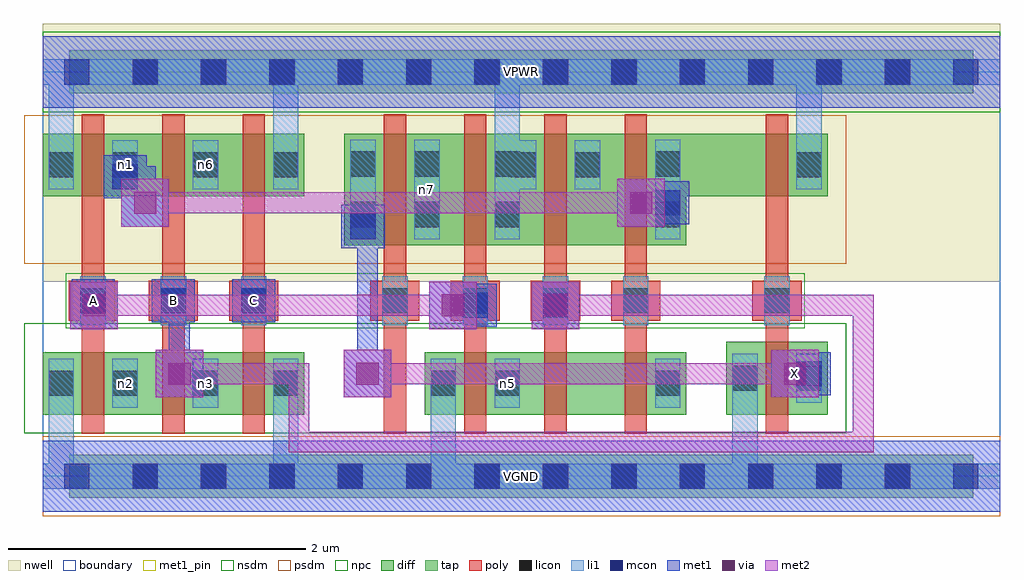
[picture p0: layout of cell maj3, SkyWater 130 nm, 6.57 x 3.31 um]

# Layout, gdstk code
import gdstk
lib = gdstk.Library(unit=1e-6, precision=1e-09)
def R(c, l, rs):  # rectangles x0, y0, x1, y1
    for r in rs: c.add(gdstk.rectangle(r[:2], r[2:], *l))
def A(c, l, x, y, w, h, nx, ny, dx, dy):  # array of equal rectangles
    R(c, l, [(x+i*dx, y+j*dy, x+i*dx+w, y+j*dy+h) for i in range(nx) for j in range(ny)])
nwell = (64, 20)
diff = (65, 20)
tap = (65, 44)
poly = (66, 20)
licon = (66, 44)
li1 = (67, 20)
mcon = (67, 44)
met1_pin = (68, 16)
met1 = (68, 20)
via = (68, 44)
met2 = (69, 20)
nsdm = (93, 44)
psdm = (94, 20)
npc = (95, 20)
boundary = (235, 4)

maj3 = lib.new_cell('maj3')
R(maj3, nwell, [(0,1.31,6.44,3.045)])
R(maj3, diff, [(0,0.415,1.76,0.835), (2.57,0.415,4.33,0.835), (4.6,0.415,5.28,0.905), (2.03,1.555,4.33,2.305), (0,1.885,1.76,2.305), (3.11,1.885,5.28,2.305)])
R(maj3, tap, [(0.18,-0.145,6.26,0.145), (0.18,2.575,6.26,2.865)])
A(maj3, poly, 0.265, 0.285, 0.15, 2.15, 3, 1, 0.54, 0)
A(maj3, poly, 2.295, 0.285, 0.15, 2.15, 4, 1, 0.54, 0)
A(maj3, poly, 0.175, 1.045, 0.33, 0.27, 3, 1, 0.54, 0)
A(maj3, poly, 2.205, 1.045, 0.33, 0.27, 4, 1, 0.54, 0)
R(maj3, poly, [(4.865,0.285,5.015,2.435), (4.775,1.045,5.105,1.315)])
A(maj3, licon, 0.605, -0.085, 0.17, 0.17, 12, 2, 0.46, 2.72)
A(maj3, licon, 0.47, 0.54, 0.17, 0.17, 3, 2, 0.54, 1.47)
A(maj3, licon, 0.255, 1.095, 0.17, 0.17, 3, 1, 0.54, 0)
A(maj3, licon, 2.285, 1.095, 0.17, 0.17, 4, 1, 0.54, 0)
R(maj3, licon, [(0.04,0.54,0.21,0.71), (2.61,0.54,2.78,0.71), (3.04,0.54,3.21,0.71), (4.12,0.54,4.29,0.71), (4.64,0.575,4.81,0.745), (5.07,0.575,5.24,0.745), (4.855,1.095,5.025,1.265), (2.07,1.675,2.24,1.845), (2.5,1.675,2.67,1.845), (3.04,1.675,3.21,1.845), (4.12,1.675,4.29,1.845), (0.04,2.01,0.21,2.18), (3.15,2.01,3.32,2.18), (3.58,2.01,3.75,2.18), (5.07,2.01,5.24,2.18), (2.07,2.015,2.24,2.185), (2.5,2.015,2.67,2.185), (3.04,2.015,3.21,2.185), (4.12,2.015,4.29,2.185)])
A(maj3, li1, 0.47, 0.46, 0.17, 0.33, 3, 2, 0.54, 1.47)
A(maj3, li1, 0.255, 1.015, 0.17, 0.33, 3, 1, 0.54, 0)
A(maj3, li1, 2.285, 1.015, 0.17, 0.33, 4, 1, 0.54, 0)
R(maj3, li1, [(0,-0.085,6.44,0.085), (0.04,-0.085,0.21,0.79), (1.55,-0.085,1.72,0.79), (2.61,-0.085,2.78,0.79), (4.64,-0.085,4.81,0.825), (0.04,0.46,0.21,0.79), (2.61,0.46,2.78,0.79), (3.04,0.46,3.21,0.79), (4.12,0.46,4.29,0.79), (4.64,0.495,4.81,0.825), (5.07,0.495,5.24,0.825), (4.855,1.015,5.025,1.345), (2.07,1.595,2.24,2.265), (2.5,1.595,2.67,2.265), (3.04,1.595,3.21,2.265), (3.04,1.595,3.21,2.805), (4.12,1.595,4.29,2.265), (0.04,1.93,0.21,2.26), (0.04,1.93,0.21,2.805), (1.55,1.93,1.72,2.805), (3.15,1.93,3.32,2.26), (3.58,1.93,3.75,2.26), (5.07,1.93,5.24,2.26), (5.07,1.93,5.24,2.805), (0,2.635,6.44,2.805)])
A(maj3, mcon, 0.145, -0.085, 0.17, 0.17, 14, 2, 0.46, 2.72)
A(maj3, mcon, 0.255, 1.095, 0.17, 0.17, 3, 1, 0.54, 0)
R(maj3, mcon, [(5.07,0.605,5.24,0.775), (2.825,1.065,2.995,1.235), (3.365,1.065,3.535,1.235), (2.07,1.595,2.24,1.765), (4.12,1.755,4.29,1.925), (0.47,1.93,0.64,2.1)])
A(maj3, met1_pin, 0.195, 1.035, 0.29, 0.29, 3, 1, 0.54, 0)
R(maj3, met1_pin, [(0,-0.24,6.44,0.24), (4.9,0.53,5.22,0.85), (0,2.48,6.44,2.96)])
A(maj3, met1, 0.195, 1.035, 0.29, 0.29, 3, 1, 0.54, 0)
R(maj3, met1, [(0,-0.24,6.44,0.24), (0.76,0.53,1.08,0.85), (2.025,0.53,2.345,0.85), (4.9,0.53,5.22,0.85), (5.01,0.545,5.3,0.835), (0.85,0.62,0.99,1.22), (2.115,0.62,2.255,1.565), (4.99,0.62,5.225,0.76), (0.185,0.99,0.505,1.31), (2.6,0.99,2.92,1.31), (3.29,0.99,3.61,1.31), (2.765,1.005,3.055,1.295), (3.305,1.005,3.595,1.295), (0.275,1.08,0.415,1.22), (0.85,1.08,0.99,1.22), (2.69,1.08,2.98,1.22), (2.115,1.425,2.255,1.75), (2.01,1.535,2.3,1.825), (2.085,1.61,2.255,1.75), (0.53,1.68,0.85,2), (3.865,1.68,4.185,2), (4.06,1.695,4.35,1.985), (0.62,1.77,0.76,2.085), (3.955,1.77,4.275,1.91), (0.41,1.87,0.7,2.16), (0.485,1.945,0.76,2.085), (0,2.48,6.44,2.96)])
R(maj3, via, [(0.845,0.615,0.995,0.765), (2.11,0.615,2.26,0.765), (4.985,0.615,5.135,0.765), (0.27,1.075,0.42,1.225), (2.685,1.075,2.835,1.225), (3.375,1.075,3.525,1.225), (0.615,1.765,0.765,1.915), (3.95,1.765,4.1,1.915)])
R(maj3, met2, [(1.655,0.16,5.59,0.3), (1.655,0.16,1.795,0.76), (5.45,0.16,5.59,1.22), (0.76,0.53,1.08,0.85), (2.025,0.53,2.345,0.85), (4.9,0.53,5.22,0.85), (0.85,0.62,1.795,0.76), (2.115,0.62,5.13,0.76), (0.185,0.99,0.505,1.31), (2.6,0.99,2.92,1.31), (3.29,0.99,3.61,1.31), (0.275,1.08,2.83,1.22), (3.38,1.08,5.59,1.22), (0.53,1.68,0.85,2), (3.865,1.68,4.185,2), (0.62,1.77,4.095,1.91)])
R(maj3, nsdm, [(-0.125,0.29,5.405,1.03), (0,2.45,6.44,2.99)])
R(maj3, psdm, [(0,-0.27,6.44,0.27), (-0.125,1.43,5.405,2.43)])
R(maj3, npc, [(0.155,0.995,5.125,1.365)])
R(maj3, boundary, [(0,0,6.44,2.72)])
maj3.add(gdstk.Label('n2', (0.555,0.625), layer=67, texttype=5))
maj3.add(gdstk.Label('n3', (1.095,0.625), layer=67, texttype=5))
maj3.add(gdstk.Label('n5', (3.125,0.625), layer=67, texttype=5))
maj3.add(gdstk.Label('n1', (0.555,2.095), layer=67, texttype=5))
maj3.add(gdstk.Label('n6', (1.095,2.095), layer=67, texttype=5))
maj3.add(gdstk.Label('n7', (2.585,1.93), layer=67, texttype=5))
maj3.add(gdstk.Label('A', (0.34,1.18), layer=68, texttype=5))
maj3.add(gdstk.Label('B', (0.88,1.18), layer=68, texttype=5))
maj3.add(gdstk.Label('C', (1.42,1.18), layer=68, texttype=5))
maj3.add(gdstk.Label('X', (5.06,0.69), layer=68, texttype=5))
maj3.add(gdstk.Label('VPWR', (3.22,2.72), layer=68, texttype=5))
maj3.add(gdstk.Label('VGND', (3.22,0), layer=68, texttype=5))
maj3.add(gdstk.Label('A', (0.34,1.18), layer=68, texttype=16))
maj3.add(gdstk.Label('B', (0.88,1.18), layer=68, texttype=16))
maj3.add(gdstk.Label('C', (1.42,1.18), layer=68, texttype=16))
maj3.add(gdstk.Label('X', (5.06,0.69), layer=68, texttype=16))
maj3.add(gdstk.Label('VPWR', (3.22,2.72), layer=68, texttype=16))
maj3.add(gdstk.Label('VGND', (3.22,0), layer=68, texttype=16))

lib.write_gds('maj3.gds')
